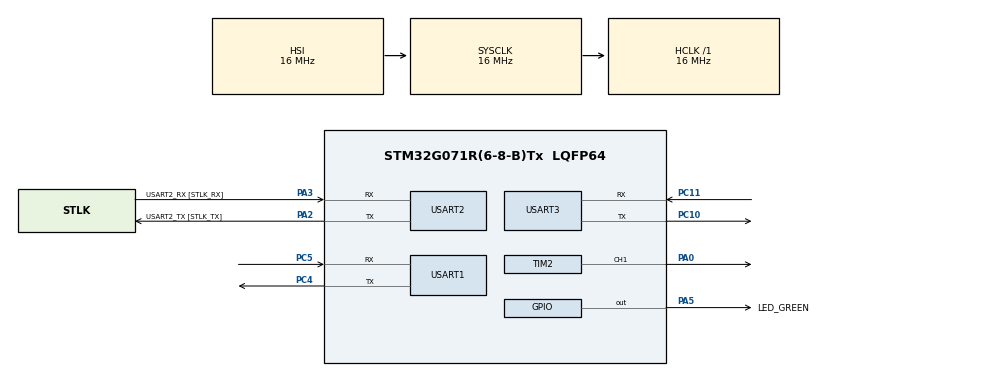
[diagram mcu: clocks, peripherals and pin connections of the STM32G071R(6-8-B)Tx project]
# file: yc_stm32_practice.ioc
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Dma.Request0=USART2_TX
Dma.Request1=USART2_RX
Dma.Request2=USART1_TX
Dma.Request3=USART1_RX
Dma.Request4=USART3_TX
Dma.Request5=USART3_RX
Dma.USART1_RX.3.Direction=DMA_PERIPH_TO_MEMORY
Dma.USART1_RX.3.EventEnable=DISABLE
Dma.USART1_RX.3.Instance=DMA1_Channel3
Dma.USART1_RX.3.MemDataAlignment=DMA_MDATAALIGN_BYTE
Dma.USART1_RX.3.MemInc=DMA_MINC_ENABLE
Dma.USART1_RX.3.Mode=DMA_CIRCULAR
Dma.USART1_RX.3.PeriphDataAlignment=DMA_PDATAALIGN_BYTE
Dma.USART1_RX.3.PeriphInc=DMA_PINC_DISABLE
Dma.USART1_RX.3.Polarity=HAL_DMAMUX_REQ_GEN_RISING
Dma.USART1_RX.3.Priority=DMA_PRIORITY_LOW
Dma.USART1_RX.3.RequestNumber=1
Dma.USART1_RX.3.SignalID=NONE
Dma.USART1_RX.3.SyncEnable=DISABLE
Dma.USART1_RX.3.SyncPolarity=HAL_DMAMUX_SYNC_NO_EVENT
Dma.USART1_RX.3.SyncRequestNumber=1
Dma.USART1_RX.3.SyncSignalID=NONE
Dma.USART1_TX.2.Direction=DMA_MEMORY_TO_PERIPH
Dma.USART1_TX.2.EventEnable=DISABLE
Dma.USART1_TX.2.Instance=DMA1_Channel4
Dma.USART1_TX.2.MemDataAlignment=DMA_MDATAALIGN_BYTE
Dma.USART1_TX.2.MemInc=DMA_MINC_ENABLE
Dma.USART1_TX.2.Mode=DMA_CIRCULAR
Dma.USART1_TX.2.PeriphDataAlignment=DMA_PDATAALIGN_BYTE
Dma.USART1_TX.2.PeriphInc=DMA_PINC_DISABLE
Dma.USART1_TX.2.Polarity=HAL_DMAMUX_REQ_GEN_RISING
Dma.USART1_TX.2.Priority=DMA_PRIORITY_LOW
Dma.USART1_TX.2.RequestNumber=1
Dma.USART1_TX.2.SignalID=NONE
Dma.USART1_TX.2.SyncEnable=DISABLE
Dma.USART1_TX.2.SyncPolarity=HAL_DMAMUX_SYNC_NO_EVENT
Dma.USART1_TX.2.SyncRequestNumber=1
Dma.USART1_TX.2.SyncSignalID=NONE
Dma.USART2_RX.1.Direction=DMA_PERIPH_TO_MEMORY
Dma.USART2_RX.1.EventEnable=DISABLE
Dma.USART2_RX.1.Instance=DMA1_Channel2
Dma.USART2_RX.1.MemDataAlignment=DMA_MDATAALIGN_BYTE
Dma.USART2_RX.1.MemInc=DMA_MINC_ENABLE
Dma.USART2_RX.1.Mode=DMA_NORMAL
Dma.USART2_RX.1.PeriphDataAlignment=DMA_PDATAALIGN_BYTE
Dma.USART2_RX.1.PeriphInc=DMA_PINC_DISABLE
Dma.USART2_RX.1.Polarity=HAL_DMAMUX_REQ_GEN_RISING
Dma.USART2_RX.1.Priority=DMA_PRIORITY_LOW
Dma.USART2_RX.1.RequestNumber=1
Dma.USART2_RX.1.SignalID=NONE
Dma.USART2_RX.1.SyncEnable=DISABLE
Dma.USART2_RX.1.SyncPolarity=HAL_DMAMUX_SYNC_NO_EVENT
Dma.USART2_RX.1.SyncRequestNumber=1
Dma.USART2_RX.1.SyncSignalID=NONE
Dma.USART2_TX.0.Direction=DMA_MEMORY_TO_PERIPH
Dma.USART2_TX.0.EventEnable=DISABLE
Dma.USART2_TX.0.Instance=DMA1_Channel1
Dma.USART2_TX.0.MemDataAlignment=DMA_MDATAALIGN_BYTE
Dma.USART2_TX.0.MemInc=DMA_MINC_ENABLE
Dma.USART2_TX.0.Mode=DMA_NORMAL
Dma.USART2_TX.0.PeriphDataAlignment=DMA_PDATAALIGN_BYTE
Dma.USART2_TX.0.PeriphInc=DMA_PINC_DISABLE
Dma.USART2_TX.0.Polarity=HAL_DMAMUX_REQ_GEN_RISING
Dma.USART2_TX.0.Priority=DMA_PRIORITY_LOW
Dma.USART2_TX.0.RequestNumber=1
Dma.USART2_TX.0.SignalID=NONE
Dma.USART2_TX.0.SyncEnable=DISABLE
Dma.USART2_TX.0.SyncPolarity=HAL_DMAMUX_SYNC_NO_EVENT
Dma.USART2_TX.0.SyncRequestNumber=1
Dma.USART2_TX.0.SyncSignalID=NONE
Dma.USART3_RX.5.Direction=DMA_PERIPH_TO_MEMORY
Dma.USART3_RX.5.EventEnable=DISABLE
Dma.USART3_RX.5.Instance=DMA1_Channel6
Dma.USART3_RX.5.MemDataAlignment=DMA_MDATAALIGN_BYTE
Dma.USART3_RX.5.MemInc=DMA_MINC_ENABLE
Dma.USART3_RX.5.Mode=DMA_CIRCULAR
Dma.USART3_RX.5.PeriphDataAlignment=DMA_PDATAALIGN_BYTE
Dma.USART3_RX.5.PeriphInc=DMA_PINC_DISABLE
Dma.USART3_RX.5.Polarity=HAL_DMAMUX_REQ_GEN_RISING
Dma.USART3_RX.5.Priority=DMA_PRIORITY_LOW
Dma.USART3_RX.5.RequestNumber=1
Dma.USART3_RX.5.SignalID=NONE
Dma.USART3_RX.5.SyncEnable=DISABLE
Dma.USART3_RX.5.SyncPolarity=HAL_DMAMUX_SYNC_NO_EVENT
Dma.USART3_RX.5.SyncRequestNumber=1
Dma.USART3_RX.5.SyncSignalID=NONE
Dma.USART3_TX.4.Direction=DMA_MEMORY_TO_PERIPH
Dma.USART3_TX.4.EventEnable=DISABLE
Dma.USART3_TX.4.Instance=DMA1_Channel5
Dma.USART3_TX.4.MemDataAlignment=DMA_MDATAALIGN_BYTE
Dma.USART3_TX.4.MemInc=DMA_MINC_ENABLE
Dma.USART3_TX.4.Mode=DMA_CIRCULAR
Dma.USART3_TX.4.PeriphDataAlignment=DMA_PDATAALIGN_BYTE
Dma.USART3_TX.4.PeriphInc=DMA_PINC_DISABLE
Dma.USART3_TX.4.Polarity=HAL_DMAMUX_REQ_GEN_RISING
Dma.USART3_TX.4.Priority=DMA_PRIORITY_LOW
Dma.USART3_TX.4.RequestNumber=1
Dma.USART3_TX.4.SignalID=NONE
Dma.USART3_TX.4.SyncEnable=DISABLE
Dma.USART3_TX.4.SyncPolarity=HAL_DMAMUX_SYNC_NO_EVENT
Dma.USART3_TX.4.SyncRequestNumber=1
Dma.USART3_TX.4.SyncSignalID=NONE
FREERTOS.Tasks01=defaultTask,24,128,StartDefaultTask,Default,NULL,Dynamic,NULL,NULL
FREERTOS.configUSE_NEWLIB_REENTRANT=1
Mcu.Family=STM32G0
Mcu.Name=STM32G071R(6-8-B)Tx
Mcu.Package=LQFP64
NVIC.DMA1_Ch4_7_DMAMUX1_OVR_IRQn=true\:3\:0\:false\:false\:true\:true\:false\:true\:true
NVIC.DMA1_Channel1_IRQn=true\:3\:0\:false\:false\:true\:true\:false\:true\:true
NVIC.DMA1_Channel2_3_IRQn=true\:3\:0\:false\:false\:true\:true\:false\:true\:true
NVIC.TIM3_IRQn=true\:3\:0\:false\:false\:true\:true\:true\:true\:true
NVIC.TIM6_DAC_LPTIM1_IRQn=true\:3\:0\:false\:false\:true\:false\:false\:true\:true
NVIC.TimeBase=TIM6_DAC_LPTIM1_IRQn
NVIC.TimeBaseIP=TIM6
NVIC.USART1_IRQn=true\:3\:0\:false\:false\:true\:true\:true\:true\:true
NVIC.USART2_IRQn=true\:3\:0\:false\:false\:true\:true\:true\:true\:true
NVIC.USART3_4_LPUART1_IRQn=true\:3\:0\:false\:false\:true\:true\:true\:true\:true
PA0.Signal=S_TIM2_CH1_ETR
PA13.GPIO_Label=TMS
PA13.Mode=Serial_Wire
PA13.Signal=SYS_SWDIO
PA14-BOOT0.GPIO_Label=TCK
PA14-BOOT0.Mode=Serial_Wire
PA14-BOOT0.Signal=SYS_SWCLK
PA2.GPIO_Label=USART2_TX [STLK_TX]
PA2.GPIO_PuPd=GPIO_PULLUP
PA2.Mode=Asynchronous
PA2.Signal=USART2_TX
PA3.GPIO_Label=USART2_RX [STLK_RX]
PA3.GPIO_PuPd=GPIO_PULLUP
PA3.Mode=Asynchronous
PA3.Signal=USART2_RX
PA5.GPIO_Label=LED_GREEN
PA5.GPIO_Speed=GPIO_SPEED_FREQ_HIGH
PA5.Signal=GPIO_Output
PC10.Mode=Asynchronous
PC10.Signal=USART3_TX
PC11.Mode=Asynchronous
PC11.Signal=USART3_RX
PC13.Mode=SYS_WakeUp1
PC13.Signal=SYS_WKUP2
PC14-OSC32_IN\ (PC14).Mode=LSE-External-Oscillator
PC14-OSC32_IN\ (PC14).Signal=RCC_OSC32_IN
PC15-OSC32_OUT\ (PC15).Mode=LSE-External-Oscillator
PC15-OSC32_OUT\ (PC15).Signal=RCC_OSC32_OUT
PC4.Mode=Asynchronous
PC4.Signal=USART1_TX
PC5.Mode=Asynchronous
PC5.Signal=USART1_RX
PF0-OSC_IN\ (PF0).GPIO_Label=MCO
PF0-OSC_IN\ (PF0).Mode=HSE-External-Clock-Source
PF0-OSC_IN\ (PF0).Signal=RCC_OSC_IN
ProjectManager.HeapSize=0x200
ProjectManager.StackSize=0x400
ProjectManager.TargetToolchain=STM32CubeIDE
RCC.AHBFreq_Value=16000000
RCC.CortexFreq_Value=16000000
RCC.EXTERNAL_CLOCK_VALUE=12288000
RCC.HCLKFreq_Value=16000000
RCC.HSE_VALUE=8000000
RCC.HSI_VALUE=16000000
RCC.SYSCLKFreq_VALUE=16000000
RCC.VCOOutputFreq_Value=128000000
SH.S_TIM2_CH1_ETR.0=TIM2_CH1,PWM Generation1 CH1
TIM2.Channel-PWM\ Generation1\ CH1=TIM_CHANNEL_1
TIM2.Period=16000
TIM2.Pulse-PWM\ Generation1\ CH1=5000
TIM3.Period=999
TIM3.Prescaler=15
USART1.VirtualMode-Asynchronous=VM_ASYNC
USART2.VirtualMode-Asynchronous=VM_ASYNC
USART3.VirtualMode-Asynchronous=VM_ASYNC
VP_FREERTOS_VS_CMSIS_V2.Mode=CMSIS_V2
VP_IWDG_VS_IWDG.Mode=IWDG_Activate
VP_SYS_VS_tim6.Mode=TIM6
VP_TIM3_VS_ClockSourceINT.Mode=Internal
board=NUCLEO-G071RB

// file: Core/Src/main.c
/* USER CODE BEGIN Header */
/**
 ******************************************************************************
 * @file           : main.c
 * @brief          : Main program body
 ******************************************************************************
 * @attention
 *
 * Copyright (c) 2025 STMicroelectronics.
 * All rights reserved.
 *
 * This software is licensed under terms that can be found in the LICENSE file
 * in the root directory of this software component.
 * If no LICENSE file comes with this software, it is provided AS-IS.
 *
 ******************************************************************************
 */
/* USER CODE END Header */
#include "main.h"
#include "cmsis_os.h"

/* USER CODE BEGIN Includes */
#include <string.h>
#include <stdio.h>  // Required for snprintf, sscanf()
#include <stdarg.h> // Required for variable argument handling
#include <stdlib.h>
#include "console.h"
#include "uart_rb.h"
#include "packet.h"
#include "cmd.h"
#include "uart_test.h"
#include "watchdog.h"
#include "experiments.h"

#if (EXPERIMENT_PHASE2_ENABLE != 0)
#include "phase2_pi.h"
#endif

#if (EXPERIMENT_PHASE1_ENABLE != 0)
#include "latency.h"
#include "load_task.h"
#endif

/* USER CODE END Includes */

/* USER CODE BEGIN PD */

/* Avoid UART TX/printf inside ISR by default (can cause watchdog resets). */
#ifndef UART_IDLE_DEBUG_PRINT
#define UART_IDLE_DEBUG_PRINT 0
#endif

/* USER CODE END PD */

IWDG_HandleTypeDef hiwdg;

TIM_HandleTypeDef htim2;
TIM_HandleTypeDef htim3;

UART_HandleTypeDef huart1;
UART_HandleTypeDef huart2;
UART_HandleTypeDef huart3;
DMA_HandleTypeDef hdma_usart1_tx;
DMA_HandleTypeDef hdma_usart1_rx;
DMA_HandleTypeDef hdma_usart2_tx;
DMA_HandleTypeDef hdma_usart2_rx;
DMA_HandleTypeDef hdma_usart3_tx;
DMA_HandleTypeDef hdma_usart3_rx;

/* Definitions for defaultTask */
osThreadId_t defaultTaskHandle;
const osThreadAttr_t defaultTask_attributes = {
  .name = "defaultTask",
  .priority = (osPriority_t) osPriorityNormal,
  .stack_size = 128 * 4
};

void SystemClock_Config(void);
static void MX_GPIO_Init(void);
static void MX_DMA_Init(void);
static void MX_USART2_UART_Init(void);
static void MX_TIM2_Init(void);
static void MX_USART1_UART_Init(void);
static void MX_USART3_UART_Init(void);
static void MX_IWDG_Init(void);
static void MX_TIM3_Init(void);
void StartDefaultTask(void *argument);

/* USER CODE BEGIN 0 */
uint8_t tx_buff[] = { 65, 66, 67, 68, 69, 70, 71, 72, 73, 74 }; //ABCDEFGHIJ in ASCII code
uint8_t rx_buff[10];

char cmd_buff[30];
int cmd_buff_idx;

static int pass_count = 0;

#define RX_BUF_SIZE 64

uint8_t uart1_rx_buf[RX_BUF_SIZE];
uint8_t uart3_rx_buf[RX_BUF_SIZE];

uint8_t uart1_data[RX_BUF_SIZE];
uint8_t uart3_data[RX_BUF_SIZE];

volatile uint16_t uart1_len = 0;
volatile uint16_t uart3_len = 0;

volatile uint8_t uart1_ready = 0;
volatile uint8_t uart3_ready = 0;

static RingBuffer rb_uart1;
static RingBuffer rb_uart3;

static PacketParser parser1;
static PacketParser parser3;

/* Helper: drain ring buffer to parser
 * max_bytes = 0 for unlimited drain in main loop
 * use a small cap (e.g., 32) when called from interrupt context */
static inline void drain_rb_parser(RingBuffer *rb, PacketParser *parser, uint16_t max_bytes)
{
    uint8_t ch;
    uint16_t count = 0;
    while (rb_pop(rb, &ch))
    {
        packet_parser_feed(parser, ch);
        if (max_bytes && (++count >= max_bytes))
            break;
    }
}

void uart_init_dma(void)
{
    print("********** Start uart_init_dma... **********\r\n");
    HAL_UART_Receive_DMA(&huart1, uart1_rx_buf, RX_BUF_SIZE);
    print("UART1 DMA RX started\r\n");

    HAL_UART_Receive_DMA(&huart3, uart3_rx_buf, RX_BUF_SIZE);
    print("UART3 DMA RX started\r\n");

    __HAL_UART_ENABLE_IT(&huart1, UART_IT_IDLE);
    print("UART1 IDLE enabled\r\n");

    __HAL_UART_ENABLE_IT(&huart3, UART_IT_IDLE);
    print("UART3 IDLE enabled\r\n");

//    __HAL_DMA_ENABLE_IT(huart1.hdmarx, DMA_IT_HT);
//    __HAL_DMA_ENABLE_IT(huart1.hdmarx, DMA_IT_TC);
//
//    __HAL_DMA_ENABLE_IT(huart3.hdmarx, DMA_IT_HT);
//    __HAL_DMA_ENABLE_IT(huart3.hdmarx, DMA_IT_TC);

    print("**********End of uart_init_dma **********\r\n");
}

void uart_send(UART_HandleTypeDef *huart, const char *msg)
{
    pass_count++;
//    HAL_UART_Transmit_DMA(huart, (uint8_t *)msg, strlen(msg));
    HAL_UART_Transmit(huart, (uint8_t*) msg, strlen(msg), HAL_MAX_DELAY);
}

/* ---------- IDLE callback (no TX) ---------- */
void HAL_UART_IDLE_Callback(UART_HandleTypeDef *huart)
{
  #if (UART_IDLE_DEBUG_PRINT != 0)
    print("\r\n ===== HAL_UART_IDLE_Callback by %d  =====\r\n\r\n",
                huart->Instance == USART1 ? 1 : 3);
  #endif
    __HAL_UART_CLEAR_IDLEFLAG(huart);
    // Use pure circular DMA: compute current write position and process only new bytes
    uint16_t cur_pos = RX_BUF_SIZE - __HAL_DMA_GET_COUNTER(huart->hdmarx);
    static uint16_t last_pos_uart1 = 0;
    static uint16_t last_pos_uart3 = 0;

    if (cur_pos > RX_BUF_SIZE)
        return;

    if (huart->Instance == USART1)
    {
        uint16_t last = last_pos_uart1;
        if (cur_pos != last)
        {
            if (cur_pos > last)
            {
                for (uint16_t i = last; i < cur_pos; i++)
                    rb_push(&rb_uart1, uart1_rx_buf[i]);
            }
            else
            {
                for (uint16_t i = last; i < RX_BUF_SIZE; i++)
                    rb_push(&rb_uart1, uart1_rx_buf[i]);
                for (uint16_t i = 0; i < cur_pos; i++)
                    rb_push(&rb_uart1, uart1_rx_buf[i]);
            }
            last_pos_uart1 = cur_pos;
            // Drain a small batch in ISR context to improve responsiveness
            drain_rb_parser(&rb_uart1, &parser1, 32);
        }
    }
    else if (huart->Instance == USART3)
    {
        uint16_t last = last_pos_uart3;
        if (cur_pos != last)
        {
            if (cur_pos > last)
            {
                for (uint16_t i = last; i < cur_pos; i++)
                    rb_push(&rb_uart3, uart3_rx_buf[i]);
            }
            else
            {
                for (uint16_t i = last; i < RX_BUF_SIZE; i++)
                    rb_push(&rb_uart3, uart3_rx_buf[i]);
                for (uint16_t i = 0; i < cur_pos; i++)
                    rb_push(&rb_uart3, uart3_rx_buf[i]);
            }
            last_pos_uart3 = cur_pos;
            // Drain a small batch in ISR context to improve responsiveness
            drain_rb_parser(&rb_uart3, &parser3, 32);
        }
    }
}

//void HAL_UART_IDLE_Callback(UART_HandleTypeDef *huart)
//{
//    print("\r\n ===== HAL_UART_IDLE_Callback by %d  =====\r\n\r\n",
//            huart->Instance == USART1 ? 1 : 3);
//    __HAL_UART_CLEAR_IDLEFLAG(huart);
//
//    uint16_t cnt = RX_BUF_SIZE - __HAL_DMA_GET_COUNTER(huart->hdmarx);
//    static uint16_t cur_uart1_rx_buf_idx = 0UL;
//    static uint16_t cur_uart3_rx_buf_idx = 0UL;
//
//    if (cnt == 0)
//        return;
//
//    if (huart->Instance == USART1)
//    {
//        for (; cur_uart1_rx_buf_idx < cnt; cur_uart1_rx_buf_idx++)
//        {
//            rb_push(&rb_uart1, uart1_rx_buf[cur_uart1_rx_buf_idx]);
//        }
//        HAL_UART_Receive_DMA(huart, uart1_rx_buf, RX_BUF_SIZE);
//    }
//    else if (huart->Instance == USART3)
//    {
//        for (; cur_uart3_rx_buf_idx < cnt; cur_uart3_rx_buf_idx++)
//        {
//            rb_push(&rb_uart3, uart3_rx_buf[cur_uart3_rx_buf_idx]);
//        }
//        HAL_UART_Receive_DMA(huart, uart3_rx_buf, RX_BUF_SIZE);
//    }
//}

/* USER CODE END 0 */

int main(void)
{

  /* MCU Configuration--------------------------------------------------------*/

  /* Reset of all peripherals, Initializes the Flash interface and the Systick. */
  HAL_Init();

  /* Configure the system clock */
  SystemClock_Config();

  /* Initialize all configured peripherals */
  MX_GPIO_Init();
  MX_DMA_Init();
  MX_USART2_UART_Init();
  MX_TIM2_Init();
  MX_USART1_UART_Init();
  MX_USART3_UART_Init();
  MX_IWDG_Init();
  MX_TIM3_Init();
  /* USER CODE BEGIN 2 */
    console_init(&huart2);

    /* Level 3: check reset reason early (after console is ready). */
    System_Check_Reset_Reason();

    cmd_buff_idx = 0;
//	int number_of_dogs = 5;
//	char *dogs_name = "George";

    print("\r\n\r\n\r\n\r\n\r\n\r\n\r\nSTART ~ \r\n");

//	print("There are %d dogs, all named %s !\r\n", number_of_dogs, dogs_name);
//	print("There are %d dogs, all named %s !\r\n", number_of_dogs, dogs_name);

    print("=== UART1 <-> UART3 DMA loopback test ===\r\n");

    uart_init_dma();
    // Initialize ring buffers and streaming parsers for UART1/3
    rb_init(&rb_uart1);
    rb_init(&rb_uart3);
    packet_parser_init(&parser1);
    packet_parser_init(&parser3);

  #if (EXPERIMENT_PHASE1_ENABLE != 0)
    latency_init(&htim3, &huart2);
    if (HAL_TIM_Base_Start_IT(&htim3) != HAL_OK)
    {
      Error_Handler();
    }
  #endif

    {
        // uart_test:

        // init
//        uart_test_init(&huart3);
//
//        // UART_TEST_SINGLE_CMD
//        uart_test_run(UART_TEST_SINGLE_CMD);
//
//        // UART_TEST_CMD_WITH_IDLE
//        uart_test_run(UART_TEST_CMD_WITH_IDLE);
//
//        // CMD_STICKY
//        uart_test_run(UART_TEST_CMD_STICKY);
//
//        // UART_TEST_CONTINUOUS_STREAM
//        uart_test_run(UART_TEST_CONTINUOUS_STREAM);

    }

    // Manually send the first Ping (optional to start)
//    uart_send(&huart1, "Ping from UART1\r\n");
//    uart_send(&huart3, "Ping from UART3\r\n");

    while (HAL_GetTick() < 1000)
    {
      /* Level 1: keep feeding watchdog in the main processing loop. */
      Watchdog_Refresh();

        // Unbounded drain in main loop for steady parsing
//        drain_rb_parser(&rb_uart1, &parser1, 0);
//        drain_rb_parser(&rb_uart3, &parser3, 0);

        if (uart1_ready)
        {

            print("\r\n[UART1][PASS:%d] recv %d bytes\r\n", pass_count,
                    uart1_len);
            // print msg
            for (uint16_t i = 0; i < uart1_len; i++)
                print("%c", uart1_data[i]);
            print("\r\n");

            // Ping
            uart_send(&huart1, "Ping from UART1\r\n");

            uart1_ready = 0;
        }

        if (uart3_ready)
        {

            print("\r\n[UART3][PASS:%d] recv %d bytes\r\n", pass_count,
                    uart3_len);
            // print msg
            for (uint16_t i = 0; i < uart3_len; i++)
                print("%c", uart3_data[i]);
            print("\r\n");

            // Pong
            uart_send(&huart3, "Pong from UART3\r\n");

            uart3_ready = 0;
        }
    }

    HAL_UART_Receive_DMA(&huart2, rx_buff, 1);

  /* USER CODE END 2 */

  /* Init scheduler */
  osKernelInitialize();

  /* Create the thread(s) */
  /* creation of defaultTask */
  defaultTaskHandle = osThreadNew(StartDefaultTask, NULL, &defaultTask_attributes);

  /* USER CODE BEGIN RTOS_THREADS */
  /* add threads, ... */
  #if (EXPERIMENT_PHASE1_ENABLE != 0)
  load_task_start();
  latency_start_logging_task();
  #endif

  #if (EXPERIMENT_PHASE2_ENABLE != 0)
  phase2_pi_start();
  #endif
  /* USER CODE END RTOS_THREADS */

  /* Start scheduler */
  osKernelStart();

  /* We should never get here as control is now taken by the scheduler */

  /* Infinite loop */
  /* USER CODE BEGIN WHILE */
  while (1)
  {
      /* Level 1: periodic watchdog refresh. */
      Watchdog_Refresh();

      /* Optional: add background tasks here. */
      HAL_Delay(10);
  }
    /* USER CODE END WHILE */

}

void SystemClock_Config(void)
{
  RCC_OscInitTypeDef RCC_OscInitStruct = {0};
  RCC_ClkInitTypeDef RCC_ClkInitStruct = {0};

  /** Configure the main internal regulator output voltage
  */
  HAL_PWREx_ControlVoltageScaling(PWR_REGULATOR_VOLTAGE_SCALE1);

  /** Initializes the RCC Oscillators according to the specified parameters
  * in the RCC_OscInitTypeDef structure.
  */
  RCC_OscInitStruct.OscillatorType = RCC_OSCILLATORTYPE_HSI|RCC_OSCILLATORTYPE_LSI;
  RCC_OscInitStruct.HSIState = RCC_HSI_ON;
  RCC_OscInitStruct.HSIDiv = RCC_HSI_DIV1;
  RCC_OscInitStruct.HSICalibrationValue = RCC_HSICALIBRATION_DEFAULT;
  RCC_OscInitStruct.LSIState = RCC_LSI_ON;
  RCC_OscInitStruct.PLL.PLLState = RCC_PLL_NONE;
  if (HAL_RCC_OscConfig(&RCC_OscInitStruct) != HAL_OK)
  {
    Error_Handler();
  }

  /** Initializes the CPU, AHB and APB buses clocks
  */
  RCC_ClkInitStruct.ClockType = RCC_CLOCKTYPE_HCLK|RCC_CLOCKTYPE_SYSCLK
                              |RCC_CLOCKTYPE_PCLK1;
  RCC_ClkInitStruct.SYSCLKSource = RCC_SYSCLKSOURCE_HSI;
  RCC_ClkInitStruct.AHBCLKDivider = RCC_SYSCLK_DIV1;
  RCC_ClkInitStruct.APB1CLKDivider = RCC_HCLK_DIV1;

  if (HAL_RCC_ClockConfig(&RCC_ClkInitStruct, FLASH_LATENCY_0) != HAL_OK)
  {
    Error_Handler();
  }
}

static void MX_IWDG_Init(void)
{

  hiwdg.Instance = IWDG;
  /* Increase watchdog timeout to avoid resets during RTOS load/printing.
   * Timeout formula: T = (Reload + 1) / (LSI / Prescaler)
   * With Prescaler=32, Reload=1999, and LSI≈32kHz => T≈2.0s.
   */
  hiwdg.Init.Prescaler = IWDG_PRESCALER_32;
  hiwdg.Init.Window = IWDG_WINDOW_DISABLE;
  hiwdg.Init.Reload = 1999;
  if (HAL_IWDG_Init(&hiwdg) != HAL_OK)
  {
    Error_Handler();
  }

}

static void MX_TIM2_Init(void)
{

  TIM_MasterConfigTypeDef sMasterConfig = {0};
  TIM_OC_InitTypeDef sConfigOC = {0};

  htim2.Instance = TIM2;
  htim2.Init.Prescaler = 0;
  htim2.Init.CounterMode = TIM_COUNTERMODE_UP;
  htim2.Init.Period = 16000;
  htim2.Init.ClockDivision = TIM_CLOCKDIVISION_DIV1;
  htim2.Init.AutoReloadPreload = TIM_AUTORELOAD_PRELOAD_DISABLE;
  if (HAL_TIM_PWM_Init(&htim2) != HAL_OK)
  {
    Error_Handler();
  }
  sMasterConfig.MasterOutputTrigger = TIM_TRGO_RESET;
  sMasterConfig.MasterSlaveMode = TIM_MASTERSLAVEMODE_DISABLE;
  if (HAL_TIMEx_MasterConfigSynchronization(&htim2, &sMasterConfig) != HAL_OK)
  {
    Error_Handler();
  }
  sConfigOC.OCMode = TIM_OCMODE_PWM1;
  sConfigOC.Pulse = 5000;
  sConfigOC.OCPolarity = TIM_OCPOLARITY_HIGH;
  sConfigOC.OCFastMode = TIM_OCFAST_DISABLE;
  if (HAL_TIM_PWM_ConfigChannel(&htim2, &sConfigOC, TIM_CHANNEL_1) != HAL_OK)
  {
    Error_Handler();
  }
  HAL_TIM_MspPostInit(&htim2);

}

static void MX_TIM3_Init(void)
{

  TIM_ClockConfigTypeDef sClockSourceConfig = {0};
  TIM_MasterConfigTypeDef sMasterConfig = {0};

  htim3.Instance = TIM3;
  htim3.Init.Prescaler = 15;
  htim3.Init.CounterMode = TIM_COUNTERMODE_UP;
  htim3.Init.Period = 999;
  htim3.Init.ClockDivision = TIM_CLOCKDIVISION_DIV1;
  htim3.Init.AutoReloadPreload = TIM_AUTORELOAD_PRELOAD_DISABLE;
  if (HAL_TIM_Base_Init(&htim3) != HAL_OK)
  {
    Error_Handler();
  }
  sClockSourceConfig.ClockSource = TIM_CLOCKSOURCE_INTERNAL;
  if (HAL_TIM_ConfigClockSource(&htim3, &sClockSourceConfig) != HAL_OK)
  {
    Error_Handler();
  }
  sMasterConfig.MasterOutputTrigger = TIM_TRGO_RESET;
  sMasterConfig.MasterSlaveMode = TIM_MASTERSLAVEMODE_DISABLE;
  if (HAL_TIMEx_MasterConfigSynchronization(&htim3, &sMasterConfig) != HAL_OK)
  {
    Error_Handler();
  }

}

static void MX_USART1_UART_Init(void)
{

  huart1.Instance = USART1;
  huart1.Init.BaudRate = 115200;
  huart1.Init.WordLength = UART_WORDLENGTH_8B;
  huart1.Init.StopBits = UART_STOPBITS_1;
  huart1.Init.Parity = UART_PARITY_NONE;
  huart1.Init.Mode = UART_MODE_TX_RX;
  huart1.Init.HwFlowCtl = UART_HWCONTROL_NONE;
  huart1.Init.OverSampling = UART_OVERSAMPLING_16;
  huart1.Init.OneBitSampling = UART_ONE_BIT_SAMPLE_DISABLE;
  huart1.Init.ClockPrescaler = UART_PRESCALER_DIV1;
  huart1.AdvancedInit.AdvFeatureInit = UART_ADVFEATURE_NO_INIT;
  if (HAL_UART_Init(&huart1) != HAL_OK)
  {
    Error_Handler();
  }
  if (HAL_UARTEx_SetTxFifoThreshold(&huart1, UART_TXFIFO_THRESHOLD_1_8) != HAL_OK)
  {
    Error_Handler();
  }
  if (HAL_UARTEx_SetRxFifoThreshold(&huart1, UART_RXFIFO_THRESHOLD_1_8) != HAL_OK)
  {
    Error_Handler();
  }
  if (HAL_UARTEx_DisableFifoMode(&huart1) != HAL_OK)
  {
    Error_Handler();
  }

}

static void MX_USART2_UART_Init(void)
{

  huart2.Instance = USART2;
  huart2.Init.BaudRate = 115200;
  huart2.Init.WordLength = UART_WORDLENGTH_8B;
  huart2.Init.StopBits = UART_STOPBITS_1;
  huart2.Init.Parity = UART_PARITY_NONE;
  huart2.Init.Mode = UART_MODE_TX_RX;
  huart2.Init.HwFlowCtl = UART_HWCONTROL_NONE;
  huart2.Init.OverSampling = UART_OVERSAMPLING_16;
  huart2.Init.OneBitSampling = UART_ONE_BIT_SAMPLE_DISABLE;
  huart2.Init.ClockPrescaler = UART_PRESCALER_DIV1;
  huart2.AdvancedInit.AdvFeatureInit = UART_ADVFEATURE_NO_INIT;
  if (HAL_UART_Init(&huart2) != HAL_OK)
  {
    Error_Handler();
  }
  if (HAL_UARTEx_SetTxFifoThreshold(&huart2, UART_TXFIFO_THRESHOLD_1_8) != HAL_OK)
  {
    Error_Handler();
  }
  if (HAL_UARTEx_SetRxFifoThreshold(&huart2, UART_RXFIFO_THRESHOLD_1_8) != HAL_OK)
  {
    Error_Handler();
  }
  if (HAL_UARTEx_DisableFifoMode(&huart2) != HAL_OK)
  {
    Error_Handler();
  }
  /* USER CODE BEGIN USART2_Init 2 */
    memset(rx_buff, 0, sizeof(rx_buff));
    memset(cmd_buff, 0, sizeof(cmd_buff));
  /* USER CODE END USART2_Init 2 */

}

static void MX_USART3_UART_Init(void)
{

  huart3.Instance = USART3;
  huart3.Init.BaudRate = 115200;
  huart3.Init.WordLength = UART_WORDLENGTH_8B;
  huart3.Init.StopBits = UART_STOPBITS_1;
  huart3.Init.Parity = UART_PARITY_NONE;
  huart3.Init.Mode = UART_MODE_TX_RX;
  huart3.Init.HwFlowCtl = UART_HWCONTROL_NONE;
  huart3.Init.OverSampling = UART_OVERSAMPLING_16;
  huart3.Init.OneBitSampling = UART_ONE_BIT_SAMPLE_DISABLE;
  huart3.Init.ClockPrescaler = UART_PRESCALER_DIV1;
  huart3.AdvancedInit.AdvFeatureInit = UART_ADVFEATURE_NO_INIT;
  if (HAL_UART_Init(&huart3) != HAL_OK)
  {
    Error_Handler();
  }

}

static void MX_DMA_Init(void)
{

  /* DMA controller clock enable */
  __HAL_RCC_DMA1_CLK_ENABLE();

  /* DMA interrupt init */
  /* DMA1_Channel1_IRQn interrupt configuration */
  HAL_NVIC_SetPriority(DMA1_Channel1_IRQn, 3, 0);
  HAL_NVIC_EnableIRQ(DMA1_Channel1_IRQn);
  /* DMA1_Channel2_3_IRQn interrupt configuration */
  HAL_NVIC_SetPriority(DMA1_Channel2_3_IRQn, 3, 0);
  HAL_NVIC_EnableIRQ(DMA1_Channel2_3_IRQn);
  /* DMA1_Ch4_7_DMAMUX1_OVR_IRQn interrupt configuration */
  HAL_NVIC_SetPriority(DMA1_Ch4_7_DMAMUX1_OVR_IRQn, 3, 0);
  HAL_NVIC_EnableIRQ(DMA1_Ch4_7_DMAMUX1_OVR_IRQn);

}

static void MX_GPIO_Init(void)
{
  GPIO_InitTypeDef GPIO_InitStruct = {0};

  /* GPIO Ports Clock Enable */
  __HAL_RCC_GPIOC_CLK_ENABLE();
  __HAL_RCC_GPIOF_CLK_ENABLE();
  __HAL_RCC_GPIOA_CLK_ENABLE();

  /*Configure GPIO pin Output Level */
  HAL_GPIO_WritePin(LED_GREEN_GPIO_Port, LED_GREEN_Pin, GPIO_PIN_RESET);

  /*Configure GPIO pin : LED_GREEN_Pin */
  GPIO_InitStruct.Pin = LED_GREEN_Pin;
  GPIO_InitStruct.Mode = GPIO_MODE_OUTPUT_PP;
  GPIO_InitStruct.Pull = GPIO_NOPULL;
  GPIO_InitStruct.Speed = GPIO_SPEED_FREQ_HIGH;
  HAL_GPIO_Init(LED_GREEN_GPIO_Port, &GPIO_InitStruct);

}

/* USER CODE BEGIN 4 */

void HAL_UART_RxCpltCallback(UART_HandleTypeDef *huart)
{

    if (huart->Instance == USART2)
    {

        process_cmd();

        //	print("RX callback triggered\r\n");

        // HAL_GPIO_TogglePin(LED_GREEN_GPIO_Port, LED_GREEN_Pin);
        //	HAL_GPIO_TogglePin(LED_GREEN_GPIO_Port, LED_GREEN_Pin);

        HAL_UART_Receive_DMA(&huart2, rx_buff, 1);
    }
}
/* USER CODE END 4 */

void StartDefaultTask(void *argument)
{
  /* USER CODE BEGIN 5 */
  /* Infinite loop */
  for(;;)
  {
    /* After osKernelStart(), the main() infinite loop is no longer executed.
     * Refresh watchdog here to avoid periodic resets.
     * Note: current CubeMX IWDG config appears to be a short timeout, so keep
     * the refresh period comfortably below it.
     */
    Watchdog_Refresh();
    osDelay(100);
  }
  /* USER CODE END 5 */
}

void HAL_TIM_PeriodElapsedCallback(TIM_HandleTypeDef *htim)
{
  if (htim->Instance == TIM6)
  {
    HAL_IncTick();
  }
  /* USER CODE BEGIN Callback 1 */

  #if (EXPERIMENT_PHASE1_ENABLE != 0)
  if (htim->Instance == TIM3)
  {
    latency_on_tim_period_elapsed_isr(htim);
  }
  #endif

  /* USER CODE END Callback 1 */
}

void Error_Handler(void)
{
    __disable_irq();
    while (1)
    {
    }
}
